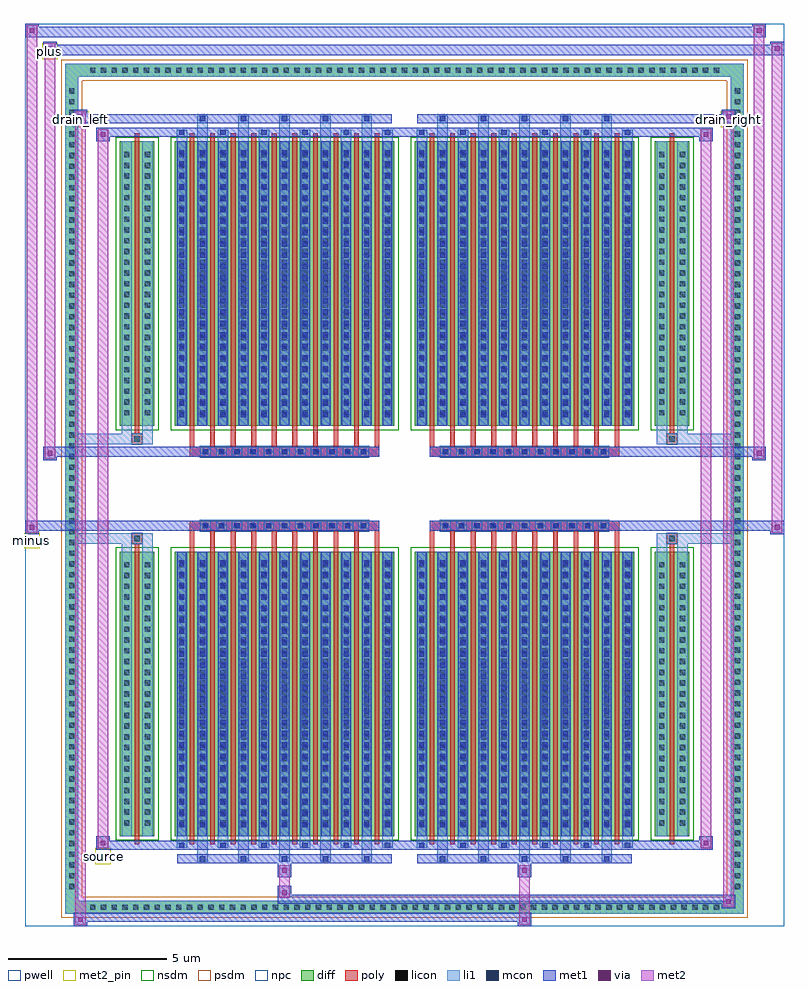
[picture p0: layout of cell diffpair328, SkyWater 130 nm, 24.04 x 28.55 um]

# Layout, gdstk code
import gdstk
lib = gdstk.Library(unit=1e-6, precision=5e-09)
def R(c, l, rs):  # rectangles x0, y0, x1, y1
    for r in rs: c.add(gdstk.rectangle(r[:2], r[2:], *l))
def A(c, l, x, y, w, h, nx, ny, dx, dy):  # array of equal rectangles
    R(c, l, [(x+i*dx, y+j*dy, x+i*dx+w, y+j*dy+h) for i in range(nx) for j in range(ny)])
def P(c, l, *ps):  # polygons
    for p in ps: c.add(gdstk.Polygon(p, *l))
pwell = (64, 44)
diff = (65, 20)
poly = (66, 20)
licon = (66, 44)
li1 = (67, 20)
mcon = (67, 44)
met1 = (68, 20)
via = (68, 44)
met2_pin = (69, 16)
met2 = (69, 20)
nsdm = (93, 44)
psdm = (94, 20)
npc = (95, 20)

diffpair328 = lib.new_cell('diffpair328')
R(diffpair328, pwell, [(-12,-13.84,12,14.71), (-9.32,-12.03,-0.01,-0.805), (0.01,-12.03,9.32,-0.805), (-9.32,0.805,-0.01,12.03), (0.01,0.805,9.32,12.03)])
A(diffpair328, diff, -10.065, -13.44, 0.41, 0.41, 59, 2, 0.34, 26.47)
A(diffpair328, diff, -10.73, -12.785, 0.41, 0.41, 1, 75, 0, 0.34)
A(diffpair328, diff, 10.32, -12.785, 0.41, 0.41, 1, 75, 0, 0.34)
R(diffpair328, diff, [(-10.065,-13.44,10.065,-13.03), (-10.73,-12.785,-10.32,12.785), (10.32,-12.785,10.73,12.785), (-9.01,-10.985,-7.91,-1.985), (-7.27,-10.985,-0.32,-1.985), (0.32,-10.985,7.27,-1.985), (7.91,-10.985,9.01,-1.985), (-9.01,1.985,-7.91,10.985), (-7.27,1.985,-0.32,10.985), (0.32,1.985,7.27,10.985), (7.91,1.985,9.01,10.985), (-10.065,13.03,10.065,13.44)])
P(diffpair328, diff, [(10.73,13.44),(-10.73,13.44),(-10.73,-13.03),(-10.32,-13.03),(-10.32,13.03),(10.32,13.03),(10.32,-13.03),(-10.32,-13.03),(-10.73,-13.03),(-10.73,-13.44),(10.73,-13.44)])
A(diffpair328, poly, -6.795, -11.235, 0.15, 9.5, 10, 2, 0.65, 12.97)
A(diffpair328, poly, 0.795, -11.235, 0.15, 9.5, 10, 2, 0.65, 12.97)
A(diffpair328, poly, -6.795, -1.735, 0.15, 0.4, 10, 2, 0.65, 3.07)
A(diffpair328, poly, 0.795, -1.735, 0.15, 0.4, 10, 2, 0.65, 3.07)
A(diffpair328, poly, -6.46, -1.335, 0.33, 0.33, 11, 2, 0.5, 2.34)
A(diffpair328, poly, 1.13, -1.335, 0.33, 0.33, 11, 2, 0.5, 2.34)
R(diffpair328, poly, [(-8.535,-11.235,-8.385,-1.735), (8.385,-11.235,8.535,-1.735), (-8.625,-1.735,-8.295,-1.405), (-8.625,-1.735,-8.295,-1.405), (8.295,-1.735,8.625,-1.405), (8.295,-1.735,8.625,-1.405), (-6.795,-1.335,-0.795,-1.005), (0.795,-1.335,6.795,-1.005), (-6.795,1.005,-0.795,1.335), (0.795,1.005,6.795,1.335), (-8.625,1.405,-8.295,1.735), (-8.625,1.405,-8.295,1.735), (8.295,1.405,8.625,1.735), (8.295,1.405,8.625,1.735), (-8.535,1.735,-8.385,11.235), (8.385,1.735,8.535,11.235)])
A(diffpair328, licon, -9.945, -13.32, 0.17, 0.17, 59, 2, 0.34, 26.47)
A(diffpair328, licon, -10.61, -12.665, 0.17, 0.17, 1, 75, 0, 0.34)
A(diffpair328, licon, 10.44, -12.665, 0.17, 0.17, 1, 75, 0, 0.34)
A(diffpair328, licon, -8.87, -10.65, 0.17, 0.17, 1, 25, 0, 0.34)
A(diffpair328, licon, -8.22, -10.65, 0.17, 0.17, 1, 25, 0, 0.34)
A(diffpair328, licon, -7.13, -10.65, 0.17, 0.17, 11, 25, 0.65, 0.34)
A(diffpair328, licon, 0.46, -10.65, 0.17, 0.17, 11, 25, 0.65, 0.34)
A(diffpair328, licon, 8.05, -10.65, 0.17, 0.17, 1, 25, 0, 0.34)
A(diffpair328, licon, 8.7, -10.65, 0.17, 0.17, 1, 25, 0, 0.34)
A(diffpair328, licon, -6.38, -1.255, 0.17, 0.17, 11, 2, 0.5, 2.34)
A(diffpair328, licon, 1.21, -1.255, 0.17, 0.17, 11, 2, 0.5, 2.34)
A(diffpair328, licon, -8.87, 2.32, 0.17, 0.17, 1, 25, 0, 0.34)
A(diffpair328, licon, -8.22, 2.32, 0.17, 0.17, 1, 25, 0, 0.34)
A(diffpair328, licon, -7.13, 2.32, 0.17, 0.17, 11, 25, 0.65, 0.34)
A(diffpair328, licon, 0.46, 2.32, 0.17, 0.17, 11, 25, 0.65, 0.34)
A(diffpair328, licon, 8.05, 2.32, 0.17, 0.17, 1, 25, 0, 0.34)
A(diffpair328, licon, 8.7, 2.32, 0.17, 0.17, 1, 25, 0, 0.34)
R(diffpair328, licon, [(-8.545,-1.655,-8.375,-1.485), (8.375,-1.655,8.545,-1.485), (-8.545,1.485,-8.375,1.655), (8.375,1.485,8.545,1.655)])
A(diffpair328, li1, -10.025, -13.4, 0.33, 0.33, 59, 2, 0.34, 26.47)
A(diffpair328, li1, -10.69, -12.745, 0.33, 0.33, 1, 75, 0, 0.34)
A(diffpair328, li1, 10.36, -12.745, 0.33, 0.33, 1, 75, 0, 0.34)
A(diffpair328, li1, -6.56, -11.79, 0.33, 0.805, 5, 2, 1.3, 22.775)
A(diffpair328, li1, -6.48, -11.79, 0.17, 0.17, 5, 2, 1.3, 23.41)
A(diffpair328, li1, 1.03, -11.79, 0.33, 0.805, 5, 2, 1.3, 22.775)
A(diffpair328, li1, 1.11, -11.79, 0.17, 0.17, 5, 2, 1.3, 23.41)
A(diffpair328, li1, -7.21, -11.36, 0.33, 0.375, 6, 2, 1.3, 22.345)
A(diffpair328, li1, -7.13, -11.36, 0.17, 0.17, 6, 2, 1.3, 22.55)
A(diffpair328, li1, 0.38, -11.36, 0.33, 0.375, 6, 2, 1.3, 22.345)
A(diffpair328, li1, 0.46, -11.36, 0.17, 0.17, 6, 2, 1.3, 22.55)
A(diffpair328, li1, -7.21, -10.985, 0.33, 9, 11, 2, 0.65, 12.97)
A(diffpair328, li1, 0.38, -10.985, 0.33, 9, 11, 2, 0.65, 12.97)
A(diffpair328, li1, -8.95, -10.73, 0.33, 0.33, 1, 25, 0, 0.34)
A(diffpair328, li1, -8.3, -10.73, 0.33, 0.33, 1, 25, 0, 0.34)
A(diffpair328, li1, -7.21, -10.73, 0.33, 0.33, 11, 25, 0.65, 0.34)
A(diffpair328, li1, 0.38, -10.73, 0.33, 0.33, 11, 25, 0.65, 0.34)
A(diffpair328, li1, 7.97, -10.73, 0.33, 0.33, 1, 25, 0, 0.34)
A(diffpair328, li1, 8.62, -10.73, 0.33, 0.33, 1, 25, 0, 0.34)
A(diffpair328, li1, -7.13, -10.71, 0.17, 0.17, 11, 24, 0.65, 0.36)
A(diffpair328, li1, -7.13, -10.71, 0.17, 8.45, 11, 2, 0.65, 12.97)
A(diffpair328, li1, 0.46, -10.71, 0.17, 0.17, 11, 24, 0.65, 0.36)
A(diffpair328, li1, 0.46, -10.71, 0.17, 8.45, 11, 2, 0.65, 12.97)
A(diffpair328, li1, -6.46, -1.335, 0.33, 0.33, 11, 2, 0.5, 2.34)
A(diffpair328, li1, 1.13, -1.335, 0.33, 0.33, 11, 2, 0.5, 2.34)
A(diffpair328, li1, -8.95, 2.24, 0.33, 0.33, 1, 25, 0, 0.34)
A(diffpair328, li1, -8.3, 2.24, 0.33, 0.33, 1, 25, 0, 0.34)
A(diffpair328, li1, -7.21, 2.24, 0.33, 0.33, 11, 25, 0.65, 0.34)
A(diffpair328, li1, 0.38, 2.24, 0.33, 0.33, 11, 25, 0.65, 0.34)
A(diffpair328, li1, 7.97, 2.24, 0.33, 0.33, 1, 25, 0, 0.34)
A(diffpair328, li1, 8.62, 2.24, 0.33, 0.33, 1, 25, 0, 0.34)
A(diffpair328, li1, -7.13, 2.26, 0.17, 0.17, 11, 24, 0.65, 0.36)
A(diffpair328, li1, 0.46, 2.26, 0.17, 0.17, 11, 24, 0.65, 0.36)
R(diffpair328, li1, [(-10.73,-13.44,-10.32,-13.03), (-10.73,-13.44,-10.32,-13.03), (-10.32,-13.44,10.32,-13.03), (10.32,-13.44,10.73,-13.03), (10.32,-13.44,10.73,-13.03), (-10.73,-13.03,-10.32,13.03), (10.32,-13.03,10.73,13.03), (-8.95,-10.985,-8.62,-1.985), (-8.3,-10.985,-7.97,-1.985), (7.97,-10.985,8.3,-1.985), (8.62,-10.985,8.95,-1.985), (-8.95,-1.985,-8.62,-1.405), (-8.3,-1.985,-7.97,-1.405), (7.97,-1.985,8.3,-1.405), (8.62,-1.985,8.95,-1.405), (-10.73,-1.735,-8.625,-1.405), (-8.95,-1.735,-8.625,-1.405), (-8.625,-1.735,-8.295,-1.405), (-8.295,-1.735,-7.97,-1.405), (7.97,-1.735,8.295,-1.405), (8.295,-1.735,8.625,-1.405), (8.295,-1.735,10.73,-1.405), (8.625,-1.735,8.95,-1.405), (-10.73,1.405,-8.625,1.735), (-8.95,1.405,-8.625,1.735), (-8.95,1.405,-8.62,1.985), (-8.625,1.405,-8.295,1.735), (-8.3,1.405,-7.97,1.985), (-8.295,1.405,-7.97,1.735), (7.97,1.405,8.295,1.735), (7.97,1.405,8.3,1.985), (8.295,1.405,8.625,1.735), (8.295,1.405,10.73,1.735), (8.62,1.405,8.95,1.985), (8.625,1.405,8.95,1.735), (-8.95,1.985,-8.62,10.985), (-8.3,1.985,-7.97,10.985), (7.97,1.985,8.3,10.985), (8.62,1.985,8.95,10.985), (-10.73,13.03,-10.32,13.44), (-10.73,13.03,-10.32,13.44), (-10.32,13.03,10.32,13.44), (10.32,13.03,10.73,13.44), (10.32,13.03,10.73,13.44)])
A(diffpair328, mcon, -6.48, -11.79, 0.17, 0.17, 5, 2, 1.3, 23.41)
A(diffpair328, mcon, 1.11, -11.79, 0.17, 0.17, 5, 2, 1.3, 23.41)
A(diffpair328, mcon, -7.13, -11.36, 0.17, 0.17, 6, 2, 1.3, 22.55)
A(diffpair328, mcon, 0.46, -11.36, 0.17, 0.17, 6, 2, 1.3, 22.55)
A(diffpair328, mcon, -7.13, -10.71, 0.17, 0.17, 11, 24, 0.65, 0.36)
A(diffpair328, mcon, 0.46, -10.71, 0.17, 0.17, 11, 24, 0.65, 0.36)
A(diffpair328, mcon, -6.38, -1.255, 0.17, 0.17, 11, 2, 0.5, 2.34)
A(diffpair328, mcon, 1.21, -1.255, 0.17, 0.17, 11, 2, 0.5, 2.34)
A(diffpair328, mcon, -7.13, 2.26, 0.17, 0.17, 11, 24, 0.65, 0.36)
A(diffpair328, mcon, 0.46, 2.26, 0.17, 0.17, 11, 24, 0.65, 0.36)
A(diffpair328, met1, -6.54, -11.85, 0.29, 0.29, 5, 2, 1.3, 23.41)
A(diffpair328, met1, 1.05, -11.85, 0.29, 0.29, 5, 2, 1.3, 23.41)
A(diffpair328, met1, -7.19, -11.42, 0.29, 0.29, 6, 2, 1.3, 22.55)
A(diffpair328, met1, 0.4, -11.42, 0.29, 0.29, 6, 2, 1.3, 22.55)
A(diffpair328, met1, -7.19, -10.985, 0.29, 9, 11, 2, 0.65, 12.97)
A(diffpair328, met1, 0.4, -10.985, 0.29, 9, 11, 2, 0.65, 12.97)
A(diffpair328, met1, -7.19, -10.77, 0.29, 0.29, 11, 24, 0.65, 0.36)
A(diffpair328, met1, 0.4, -10.77, 0.29, 0.29, 11, 24, 0.65, 0.36)
A(diffpair328, met1, -6.44, -1.315, 0.29, 0.29, 11, 2, 0.5, 2.34)
A(diffpair328, met1, 1.15, -1.315, 0.29, 0.29, 11, 2, 0.5, 2.34)
A(diffpair328, met1, -7.19, 2.2, 0.29, 0.29, 11, 24, 0.65, 0.36)
A(diffpair328, met1, 0.4, 2.2, 0.29, 0.29, 11, 24, 0.65, 0.36)
R(diffpair328, met1, [(-10.46,-13.84,-10.03,-13.41), (3.58,-13.84,4.01,-13.41), (-10.46,-13.7,4.01,-13.41), (10.03,-13.27,10.46,-12.84), (-4.01,-13.13,10.46,-12.84), (-4.01,-12.99,-3.58,-12.56), (-4.01,-12.28,-3.58,-11.85), (3.58,-12.28,4.01,-11.85), (-7.19,-11.85,-0.4,-11.56), (0.4,-11.85,7.19,-11.56), (-9.75,-11.42,-9.32,-10.99), (-9.75,-11.42,-7.19,-11.13), (-7.19,-11.42,-0.4,-11.13), (-0.4,-11.42,0.4,-11.13), (0.4,-11.42,7.19,-11.13), (7.19,-11.42,9.75,-11.13), (9.32,-11.42,9.75,-10.99), (-12,-1.435,-11.57,-1.005), (11.57,-1.435,12,-1.005), (-12,-1.335,-0.795,-1.005), (-6.795,-1.335,-0.795,-1.005), (0.795,-1.335,6.795,-1.005), (0.795,-1.335,12,-1.005), (-11.43,0.905,-11,1.335), (11,0.905,11.43,1.335), (-11.43,1.005,-6.795,1.335), (-6.795,1.005,-0.795,1.335), (0.795,1.005,6.795,1.335), (6.795,1.005,11.43,1.335), (-9.75,10.99,-9.32,11.42), (9.32,10.99,9.75,11.42), (-9.75,11.13,-7.19,11.42), (-7.19,11.13,-0.4,11.42), (-0.4,11.13,0.4,11.42), (0.4,11.13,7.19,11.42), (7.19,11.13,9.75,11.42), (-10.46,11.56,-10.03,11.99), (-10.46,11.56,-7.19,11.85), (-7.19,11.56,-0.4,11.85), (0.4,11.56,7.19,11.85), (7.19,11.56,10.46,11.85), (10.03,11.56,10.46,11.99), (-11.43,13.71,-11,14.14), (-11.43,13.71,-9.32,14.04), (-9.32,13.71,9.32,14.04), (9.32,13.71,12,14.04), (11.57,13.71,12,14.14), (-12,14.28,-11.57,14.71), (-12,14.28,-9.32,14.61), (-9.32,14.28,9.32,14.61), (9.32,14.28,11.43,14.61), (11,14.28,11.43,14.71)])
R(diffpair328, via, [(-10.32,-13.7,-10.17,-13.55), (3.72,-13.7,3.87,-13.55), (10.17,-13.13,10.32,-12.98), (-3.87,-12.85,-3.72,-12.7), (-3.87,-12.14,-3.72,-11.99), (3.72,-12.14,3.87,-11.99), (-9.61,-11.28,-9.46,-11.13), (9.46,-11.28,9.61,-11.13), (-11.86,-1.295,-11.71,-1.145), (11.71,-1.295,11.86,-1.145), (-11.29,1.045,-11.14,1.195), (11.14,1.045,11.29,1.195), (-9.61,11.13,-9.46,11.28), (9.46,11.13,9.61,11.28), (-10.32,11.7,-10.17,11.85), (10.17,11.7,10.32,11.85), (-11.29,13.85,-11.14,14), (11.71,13.85,11.86,14), (-11.86,14.42,-11.71,14.57), (11.14,14.42,11.29,14.57)])
R(diffpair328, met2_pin, [(-9.785,-11.87,-9.285,-11.37), (-12.035,-1.885,-11.535,-1.385), (-10.495,11.44,-9.995,11.94), (9.995,11.44,10.495,11.94), (-11.465,13.59,-10.965,14.09)])
R(diffpair328, met2, [(-10.41,-13.79,-10.08,-13.46), (-10.41,-13.79,-10.08,11.94), (3.63,-13.79,3.96,-13.46), (3.63,-13.46,3.96,-12.23), (10.08,-13.22,10.41,-12.89), (10.08,-13.22,10.41,11.94), (-3.96,-12.94,-3.63,-12.61), (-3.96,-12.61,-3.63,-12.23), (-3.96,-12.23,-3.63,-11.9), (3.63,-12.23,3.96,-11.9), (-9.7,-11.37,-9.37,-11.04), (-9.7,-11.37,-9.37,11.37), (9.37,-11.37,9.7,-11.04), (9.37,-11.37,9.7,11.37), (-11.95,-1.385,-11.62,-1.055), (-11.95,-1.385,-11.62,14.66), (11.62,-1.385,11.95,-1.055), (11.62,-1.385,11.95,14.09), (-11.38,0.955,-11.05,1.285), (-11.38,0.955,-11.05,14.09), (11.05,0.955,11.38,1.285), (11.05,0.955,11.38,14.66), (-9.7,11.04,-9.37,11.37), (9.37,11.04,9.7,11.37), (-10.41,11.61,-10.08,11.94), (10.08,11.61,10.41,11.94), (-11.38,13.76,-11.05,14.09), (11.62,13.76,11.95,14.09), (-11.95,14.33,-11.62,14.66), (11.05,14.33,11.38,14.66)])
P(diffpair328, met2, [(11.95,-1.385),(11.95,-1.385),(11.95,-1.055),(11.95,-1.055)],
  [(11.95,13.76),(11.95,13.76),(11.95,14.09),(11.95,14.09)],
  [(-11.62,-1.385),(-11.62,-1.385),(-11.62,-1.055),(-11.62,-1.055)],
  [(-11.62,14.33),(-11.62,14.33),(-11.62,14.66),(-11.62,14.66)],
  [(11.38,0.955),(11.38,0.955),(11.38,1.285),(11.38,1.285)],
  [(11.38,14.33),(11.38,14.33),(11.38,14.66),(11.38,14.66)],
  [(-11.05,0.955),(-11.05,0.955),(-11.05,1.285),(-11.05,1.285)],
  [(-11.05,13.76),(-11.05,13.76),(-11.05,14.09),(-11.05,14.09)],
  [(-10.08,-13.79),(-10.08,-13.79),(-10.08,-13.46),(-10.08,-13.46)],
  [(-10.08,11.61),(-10.08,11.61),(-10.08,11.94),(-10.08,11.94)],
  [(10.41,-13.22),(10.41,-13.22),(10.41,-12.89),(10.41,-12.89)],
  [(10.41,11.61),(10.41,11.61),(10.41,11.94),(10.41,11.94)],
  [(-9.37,-11.37),(-9.37,-11.37),(-9.37,-11.04),(-9.37,-11.04)],
  [(-9.37,11.04),(-9.37,11.04),(-9.37,11.37),(-9.37,11.37)],
  [(9.7,-11.37),(9.7,-11.37),(9.7,-11.04),(9.7,-11.04)],
  [(9.7,11.04),(9.7,11.04),(9.7,11.37),(9.7,11.37)])
R(diffpair328, nsdm, [(-9.14,-11.115,-7.78,-1.855), (-7.4,-11.115,-0.19,-1.855), (0.19,-11.115,7.4,-1.855), (7.78,-11.115,9.14,-1.855), (-9.14,1.855,-7.78,11.115), (-7.4,1.855,-0.19,11.115), (0.19,1.855,7.4,11.115), (7.78,1.855,9.14,11.115)])
P(diffpair328, psdm, [(10.86,13.57),(-10.86,13.57),(-10.86,-12.9),(-10.19,-12.9),(-10.19,12.9),(10.19,12.9),(10.19,-12.9),(-10.19,-12.9),(-10.86,-12.9),(-10.86,-13.57),(10.86,-13.57)])
A(diffpair328, npc, -6.48, -1.355, 0.37, 0.37, 11, 2, 0.5, 2.34)
A(diffpair328, npc, 1.11, -1.355, 0.37, 0.37, 11, 2, 0.5, 2.34)
R(diffpair328, npc, [(-8.645,-1.755,-8.275,-1.385), (8.275,-1.755,8.645,-1.385), (-6.48,-1.355,-5.61,-0.985), (-6.48,-1.355,-5.61,-0.985), (-5.98,-1.355,-5.11,-0.985), (-5.98,-1.355,-5.11,-0.985), (-5.48,-1.355,-4.61,-0.985), (-5.48,-1.355,-4.61,-0.985), (-4.98,-1.355,-4.11,-0.985), (-4.98,-1.355,-4.11,-0.985), (-4.48,-1.355,-3.61,-0.985), (-4.48,-1.355,-3.61,-0.985), (-3.98,-1.355,-3.11,-0.985), (-3.98,-1.355,-3.11,-0.985), (-3.48,-1.355,-2.61,-0.985), (-3.48,-1.355,-2.61,-0.985), (-2.98,-1.355,-2.11,-0.985), (-2.98,-1.355,-2.11,-0.985), (-2.48,-1.355,-1.61,-0.985), (-2.48,-1.355,-1.61,-0.985), (-1.98,-1.355,-1.11,-0.985), (-1.98,-1.355,-1.11,-0.985), (1.11,-1.355,1.98,-0.985), (1.11,-1.355,1.98,-0.985), (1.61,-1.355,2.48,-0.985), (1.61,-1.355,2.48,-0.985), (2.11,-1.355,2.98,-0.985), (2.11,-1.355,2.98,-0.985), (2.61,-1.355,3.48,-0.985), (2.61,-1.355,3.48,-0.985), (3.11,-1.355,3.98,-0.985), (3.11,-1.355,3.98,-0.985), (3.61,-1.355,4.48,-0.985), (3.61,-1.355,4.48,-0.985), (4.11,-1.355,4.98,-0.985), (4.11,-1.355,4.98,-0.985), (4.61,-1.355,5.48,-0.985), (4.61,-1.355,5.48,-0.985), (5.11,-1.355,5.98,-0.985), (5.11,-1.355,5.98,-0.985), (5.61,-1.355,6.48,-0.985), (5.61,-1.355,6.48,-0.985), (-6.48,0.985,-5.61,1.355), (-6.48,0.985,-5.61,1.355), (-5.98,0.985,-5.11,1.355), (-5.98,0.985,-5.11,1.355), (-5.48,0.985,-4.61,1.355), (-5.48,0.985,-4.61,1.355), (-4.98,0.985,-4.11,1.355), (-4.98,0.985,-4.11,1.355), (-4.48,0.985,-3.61,1.355), (-4.48,0.985,-3.61,1.355), (-3.98,0.985,-3.11,1.355), (-3.98,0.985,-3.11,1.355), (-3.48,0.985,-2.61,1.355), (-3.48,0.985,-2.61,1.355), (-2.98,0.985,-2.11,1.355), (-2.98,0.985,-2.11,1.355), (-2.48,0.985,-1.61,1.355), (-2.48,0.985,-1.61,1.355), (-1.98,0.985,-1.11,1.355), (-1.98,0.985,-1.11,1.355), (1.11,0.985,1.98,1.355), (1.11,0.985,1.98,1.355), (1.61,0.985,2.48,1.355), (1.61,0.985,2.48,1.355), (2.11,0.985,2.98,1.355), (2.11,0.985,2.98,1.355), (2.61,0.985,3.48,1.355), (2.61,0.985,3.48,1.355), (3.11,0.985,3.98,1.355), (3.11,0.985,3.98,1.355), (3.61,0.985,4.48,1.355), (3.61,0.985,4.48,1.355), (4.11,0.985,4.98,1.355), (4.11,0.985,4.98,1.355), (4.61,0.985,5.48,1.355), (4.61,0.985,5.48,1.355), (5.11,0.985,5.98,1.355), (5.11,0.985,5.98,1.355), (5.61,0.985,6.48,1.355), (5.61,0.985,6.48,1.355), (-8.645,1.385,-8.275,1.755), (8.275,1.385,8.645,1.755)])
diffpair328.add(gdstk.Label('minus', (-11.785,-1.635), layer=69, texttype=5))
diffpair328.add(gdstk.Label('drain_right', (10.245,11.69), layer=69, texttype=5))
diffpair328.add(gdstk.Label('drain_left', (-10.245,11.69), layer=69, texttype=5))
diffpair328.add(gdstk.Label('source', (-9.535,-11.62), layer=69, texttype=5))
diffpair328.add(gdstk.Label('plus', (-11.215,13.84), layer=69, texttype=5))

lib.write_gds('diffpair328.gds')
